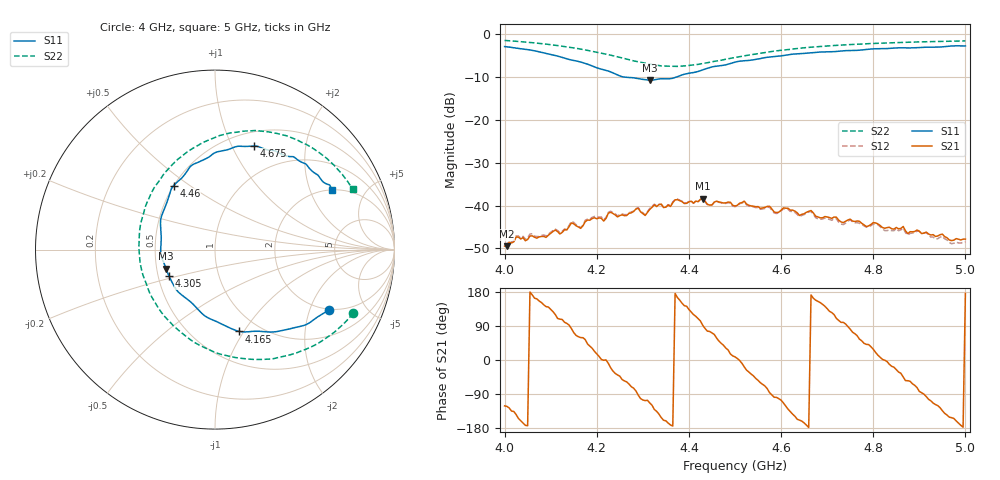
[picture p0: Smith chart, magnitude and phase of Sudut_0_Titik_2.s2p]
# Hz S RI R 50
! CMT, C1220, 16058040, 17.2.0/1
! Date: 15/08/2018 11:39:06
! Data: Format (Calibration Info)
! Freq  S11: Re/Im (F2)  S21: Re/Im (F2)  S12: Re/Im (F2)  S22: Re/Im (F2)
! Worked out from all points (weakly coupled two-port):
!   201 points, 4 GHz to 5 GHz, reference 50 ohm
!   highest |S21| = -38.37 dB at 4.43 GHz (marker M1); lowest = -49.5 dB at 4.005 GHz (marker M2)
!   lowest |S11| = -10.7 dB at 4.315 GHz (marker M3), VSWR 1.83, Z = 28 - j6.48 ohm
!   |S11| at or under -10 dB: 4.261 GHz to 4.372 GHz (111.5 MHz wide, 2.58 % of centre)
!   |S22| runs from -7.5 to -1.4 dB; largest |S21 - S12| = 0.00044
!   S11 on the Smith chart (normalised r, x): 4 GHz: 1.97, -2.75; 4.165 GHz: 0.81, -0.95; 4.305 GHz: 0.57, -0.18; 4.46 GHz: 0.50, +0.44; 4.675 GHz: 0.66, +1.22; 5 GHz: 1.99, +2.87
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4e9  0.6369 -0.3356  -0.00174 -0.00288  -0.00167 -0.00305  0.7699 -0.3549
4.005e9  0.628 -0.3421  -0.0018 -0.00284  -0.00173 -0.00304  0.7611 -0.3663
4.025e9  0.5839 -0.3669  -0.00347 -0.00253  -0.00348 -0.00275  0.7216 -0.4087
4.12e9  0.2983 -0.459  -0.00143 0.00445  -0.00161 0.00455  0.4531 -0.5758
4.145e9  0.2091 -0.4554  0.000782 0.00624  0.00061 0.00652  0.36 -0.5994
4.165e9  0.134 -0.4557  0.00279 0.00467  0.00277 0.00478  0.2814 -0.611
4.17e9  0.1181 -0.451  0.00301 0.00498  0.00296 0.00513  0.2605 -0.612
4.23e9  -0.0713 -0.3573  0.00786 -0.0029  0.00811 -0.0029  -0.00396 -0.5708
4.245e9  -0.1097 -0.3171  0.00571 -0.00469  0.00583 -0.00485  -0.0672 -0.542
4.29e9  -0.2325 -0.195  -0.000457 -0.00932  -0.000477 -0.00948  -0.2482 -0.4069
4.305e9  -0.2569 -0.1457  -0.00226 -0.00734  -0.00232 -0.00747  -0.2974 -0.3511
4.315e9  -0.2729 -0.1058  -0.00358 -0.00831  -0.00369 -0.00849  -0.3264 -0.3077
4.335e9  -0.2985 -0.0401  -0.0082 -0.00622  -0.00832 -0.00621  -0.3742 -0.2155
4.43e9  -0.2614 0.282  -0.000313 0.0121  -8.56e-05 0.0119  -0.3859 0.2451
4.46e9  -0.2304 0.3571  0.00596 0.00957  0.00616 0.00938  -0.3251 0.364
4.5e9  -0.1468 0.45  0.00979 0.00143  0.00963 0.00136  -0.2235 0.4873
4.52e9  -0.1159 0.4775  0.0107 -0.00349  0.0104 -0.00361  -0.1669 0.5346
4.59e9  0.0425 0.5504  -0.00124 -0.00821  -0.00126 -0.008  0.0411 0.6391
4.67e9  0.2095 0.5763  -0.00787 0.0024  -0.00754 0.0025  0.2617 0.6593
4.675e9  0.2177 0.577  -0.00698 0.00283  -0.00666 0.00282  0.2742 0.6592
4.835e9  0.479 0.4885  0.00548 -0.0011  0.00511 -0.000949  0.5884 0.5342
5e9  0.6513 0.3345  -0.00406 0.000301  -0.00377 0.000108  0.7676 0.3349
